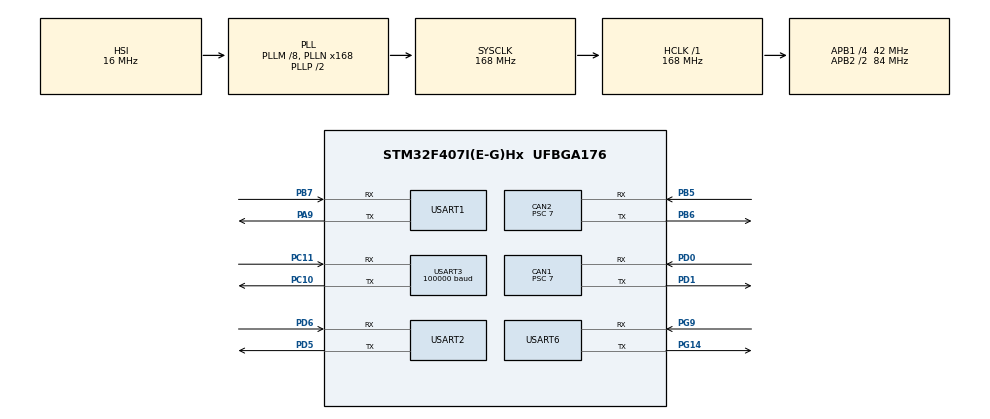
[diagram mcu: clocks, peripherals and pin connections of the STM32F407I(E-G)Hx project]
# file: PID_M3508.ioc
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CAN1.BS1=CAN_BS1_4TQ
CAN1.BS2=CAN_BS2_1TQ
CAN1.CalculateBaudRate=999999
CAN1.CalculateTimeBit=1000
CAN1.CalculateTimeQuantum=166.66666666666669
CAN1.Prescaler=7
CAN2.BS1=CAN_BS1_4TQ
CAN2.BS2=CAN_BS2_1TQ
CAN2.CalculateBaudRate=999999
CAN2.CalculateTimeBit=1000
CAN2.CalculateTimeQuantum=166.66666666666669
CAN2.Prescaler=7
Dma.Request0=USART3_RX
Dma.USART3_RX.0.Direction=DMA_PERIPH_TO_MEMORY
Dma.USART3_RX.0.FIFOMode=DMA_FIFOMODE_DISABLE
Dma.USART3_RX.0.Instance=DMA1_Stream1
Dma.USART3_RX.0.MemDataAlignment=DMA_MDATAALIGN_BYTE
Dma.USART3_RX.0.MemInc=DMA_MINC_ENABLE
Dma.USART3_RX.0.Mode=DMA_NORMAL
Dma.USART3_RX.0.PeriphDataAlignment=DMA_PDATAALIGN_BYTE
Dma.USART3_RX.0.PeriphInc=DMA_PINC_DISABLE
Dma.USART3_RX.0.Priority=DMA_PRIORITY_LOW
Mcu.Family=STM32F4
Mcu.Name=STM32F407I(E-G)Hx
Mcu.Package=UFBGA176
NVIC.DMA1_Stream1_IRQn=true\:0\:0\:false\:false\:true\:false\:true\:true
NVIC.PriorityGroup=NVIC_PRIORITYGROUP_4
NVIC.USART3_IRQn=true\:0\:0\:false\:false\:true\:true\:true\:true
PA13.Mode=Serial_Wire
PA13.Signal=SYS_JTMS-SWDIO
PA14.Mode=Serial_Wire
PA14.Signal=SYS_JTCK-SWCLK
PA9.Mode=Asynchronous
PA9.Signal=USART1_TX
PB5.Mode=CAN_Activate
PB5.Signal=CAN2_RX
PB6.Mode=CAN_Activate
PB6.Signal=CAN2_TX
PB7.Mode=Asynchronous
PB7.Signal=USART1_RX
PC10.Mode=Asynchronous
PC10.Signal=USART3_TX
PC11.Mode=Asynchronous
PC11.Signal=USART3_RX
PC14-OSC32_IN.Mode=LSE-External-Oscillator
PC14-OSC32_IN.Signal=RCC_OSC32_IN
PC15-OSC32_OUT.Mode=LSE-External-Oscillator
PC15-OSC32_OUT.Signal=RCC_OSC32_OUT
PD0.Mode=CAN_Activate
PD0.Signal=CAN1_RX
PD1.Mode=CAN_Activate
PD1.Signal=CAN1_TX
PD5.Mode=Asynchronous
PD5.Signal=USART2_TX
PD6.Mode=Asynchronous
PD6.Signal=USART2_RX
PG14.Mode=Asynchronous
PG14.Signal=USART6_TX
PG9.Mode=Asynchronous
PG9.Signal=USART6_RX
PH0-OSC_IN.Mode=HSE-External-Oscillator
PH0-OSC_IN.Signal=RCC_OSC_IN
PH1-OSC_OUT.Mode=HSE-External-Oscillator
PH1-OSC_OUT.Signal=RCC_OSC_OUT
ProjectManager.HeapSize=0x200
ProjectManager.StackSize=0x400
ProjectManager.TargetToolchain=MDK-ARM V5.32
RCC.48MHZClocksFreq_Value=84000000
RCC.AHBFreq_Value=168000000
RCC.APB1CLKDivider=RCC_HCLK_DIV4
RCC.APB1Freq_Value=42000000
RCC.APB1TimFreq_Value=84000000
RCC.APB2CLKDivider=RCC_HCLK_DIV2
RCC.APB2Freq_Value=84000000
RCC.APB2TimFreq_Value=168000000
RCC.CortexFreq_Value=168000000
RCC.HCLKFreq_Value=168000000
RCC.HSE_VALUE=8000000
RCC.HSI_VALUE=16000000
RCC.PLLM=8
RCC.PLLN=168
RCC.SYSCLKFreq_VALUE=168000000
RCC.SYSCLKSource=RCC_SYSCLKSOURCE_PLLCLK
RCC.VCOOutputFreq_Value=336000000
USART1.VirtualMode=VM_ASYNC
USART2.VirtualMode=VM_ASYNC
USART3.BaudRate=100000
USART3.Parity=PARITY_EVEN
USART3.VirtualMode=VM_ASYNC
USART6.VirtualMode=VM_ASYNC
board=custom

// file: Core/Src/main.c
/* USER CODE BEGIN Header */
/**
  ******************************************************************************
  * @file           : main.c
  * @brief          : Main program body
  ******************************************************************************
  * @attention
  *
  * Copyright (c) 2026 STMicroelectronics.
  * All rights reserved.
  *
  * This software is licensed under terms that can be found in the LICENSE file
  * in the root directory of this software component.
  * If no LICENSE file comes with this software, it is provided AS-IS.
  *
  ******************************************************************************
  */
/* USER CODE END Header */
#include "main.h"
#include "can.h"
#include "dma.h"
#include "usart.h"
#include "gpio.h"

/* USER CODE BEGIN Includes */
#include<stdio.h>
#include "string.h"
#include <math.h>
/* USER CODE END Includes */

/* USER CODE BEGIN PV */
float Target=2000,Actual=0,OUT=0;
float Kp=0,Ki=0,Kd=0;
float Error0=0,Error1=0,ErrorInt=0;
int16_t cur=0;
float OUT_MAX=3000;
float OUT_MIN=-3000;
float INT_MAX=1100;
float INT_MIN=-1100;
char buf[64];
uint32_t print_cnt=0;

volatile uint8_t dbus_buf[18];
volatile uint8_t dbus_ready=0;
volatile uint8_t S1,S2;
int16_t ch0_raw;

uint32_t last_time=0;
volatile uint8_t mode_flag=0;
uint8_t last_mode=0;
float last_target=2000;
float C=0;
/* USER CODE END PV */

void SystemClock_Config(void);
/* USER CODE BEGIN PFP */
void CAN_Send_Msg1(uint32_t CAN_TX_ID,uint8_t *data,uint8_t len);
uint8_t CAN_Receive_Msg(CAN_RxHeaderTypeDef *rxHeader,uint8_t *rxData);
float PID_Control(void);

/* USER CODE END PFP */

/* USER CODE BEGIN 0 */
void CAN_Filter_Init(CAN_HandleTypeDef *hcan,uint32_t filter_bank)
{
  CAN_FilterTypeDef sFilterConfig = {0};

  sFilterConfig.FilterBank = filter_bank; //选择过滤器组
  sFilterConfig.FilterMode = CAN_FILTERMODE_IDMASK;//选择掩码模式
  sFilterConfig.FilterScale = CAN_FILTERSCALE_32BIT;//选择过滤器位宽
  sFilterConfig.FilterIdHigh = 0x0000;//参考id
  sFilterConfig.FilterIdLow = 0x0000;//参考id
  sFilterConfig.FilterMaskIdHigh = 0x0000;//MASK掩码
  sFilterConfig.FilterMaskIdLow = 0x0000;//MASK掩码
  sFilterConfig.FilterFIFOAssignment = CAN_RX_FIFO0;//送到哪一个FIFO
  sFilterConfig.FilterActivation = ENABLE;//过滤器开关

  sFilterConfig.SlaveStartFilterBank = 14;  // 指定 CAN2 的起始滤波器组（0~13 给 CAN1，14~27 给 CAN2）

  HAL_CAN_ConfigFilter(hcan, &sFilterConfig); //把过滤器配置写入寄存器
}

void DBUS_Decode(uint8_t *buf2)
{
	S1=(buf2[5]>>6)&0x03;
	S2=(buf2[5]>>4)&0x03;
}
/* USER CODE END 0 */

int main(void)
{

  /* MCU Configuration--------------------------------------------------------*/

  /* Reset of all peripherals, Initializes the Flash interface and the Systick. */
  HAL_Init();

  /* Configure the system clock */
  SystemClock_Config();

  /* Initialize all configured peripherals */
  MX_GPIO_Init();
  MX_DMA_Init();
  MX_CAN1_Init();
  MX_USART6_UART_Init();
  MX_CAN2_Init();
  MX_USART2_UART_Init();
  MX_USART1_UART_Init();
  MX_USART3_UART_Init();
  /* USER CODE BEGIN 2 */
CAN_Filter_Init(&hcan1,0);
HAL_CAN_Start(&hcan1);

HAL_UARTEx_ReceiveToIdle_DMA(&huart3, (uint8_t *)dbus_buf, 18);
/* USER CODE END 2 */

  /* Infinite loop */
  /* USER CODE BEGIN WHILE */
  while (1)
  {
	  if(dbus_ready)
	  {
		  dbus_ready=0;
		  if(S1==1)
		  {
		  if(S2==2)
			  Target=8190;
		  if(S2==1)
			  Target=2047;
		  Ki=0;
		  Kp=0.1;
		  Kd=0.25;
		  mode_flag=1;
	      }
		  if(S1==2)
		  {
			  if(S2==2)
			  Target=2000;
		      if(S2==1)
			  Target=-2000;
			  mode_flag=2;
			  Kp=0.6;
			  Ki=0.6;
			  Kd=0.05;
		  }
	  }

		  if(mode_flag!=last_mode || Target!=last_target)
		  {
			  Error0=0;
			  Error1=0;
			  ErrorInt=0;
			  OUT=0;
			  last_mode=mode_flag;
			  last_target=Target;
		  }

		  uint32_t now=HAL_GetTick();
	  if(now-last_time>10)
	  {
	  cur=PID_Control();
		  if(mode_flag==1)
		  {
		  	if(cur>0)
		    cur+=400;
	        if(cur<0)
		    cur-=400;
	        if(fabs(Error0)<20)
		    cur=0;
          }

	  uint8_t send_buf[8]={(cur>>8)&0xFF,cur&0xFF,0,0,0,0,0,0};
	  CAN_Send_Msg1(0x200,send_buf,8);
	  last_time=now;
  }

	  CAN_RxHeaderTypeDef my_header;//定义结构体
	  uint8_t my_data[8];
	  if(CAN_Receive_Msg(&my_header,my_data)==1 && my_header.StdId==0x201)
	  {
		  uint16_t raw;
		  if(mode_flag==1)
		  {
		  raw=((uint16_t)my_data[0]<<8)|my_data[1];
		  }
		  if(mode_flag==2)
		  {
			  raw=((uint16_t)my_data[2]<<8)|my_data[3];
		  }
		  Actual=(float)(int16_t)raw;

	  }
print_cnt++;
      if (print_cnt >= 1000)
      {
          print_cnt = 0;
		  sprintf(buf,"%.2f,%.2f,%.2f\n",Actual,OUT,Target);
          HAL_UART_Transmit(&huart1, (uint8_t *)buf, strlen(buf),1000);
	  }
    /* USER CODE END WHILE */

  }
}

void SystemClock_Config(void)
{
  RCC_OscInitTypeDef RCC_OscInitStruct = {0};
  RCC_ClkInitTypeDef RCC_ClkInitStruct = {0};

  /** Configure the main internal regulator output voltage
  */
  __HAL_RCC_PWR_CLK_ENABLE();
  __HAL_PWR_VOLTAGESCALING_CONFIG(PWR_REGULATOR_VOLTAGE_SCALE1);

  /** Initializes the RCC Oscillators according to the specified parameters
  * in the RCC_OscInitTypeDef structure.
  */
  RCC_OscInitStruct.OscillatorType = RCC_OSCILLATORTYPE_HSI;
  RCC_OscInitStruct.HSIState = RCC_HSI_ON;
  RCC_OscInitStruct.HSICalibrationValue = RCC_HSICALIBRATION_DEFAULT;
  RCC_OscInitStruct.PLL.PLLState = RCC_PLL_ON;
  RCC_OscInitStruct.PLL.PLLSource = RCC_PLLSOURCE_HSI;
  RCC_OscInitStruct.PLL.PLLM = 8;
  RCC_OscInitStruct.PLL.PLLN = 168;
  RCC_OscInitStruct.PLL.PLLP = RCC_PLLP_DIV2;
  RCC_OscInitStruct.PLL.PLLQ = 4;
  if (HAL_RCC_OscConfig(&RCC_OscInitStruct) != HAL_OK)
  {
    Error_Handler();
  }

  /** Initializes the CPU, AHB and APB buses clocks
  */
  RCC_ClkInitStruct.ClockType = RCC_CLOCKTYPE_HCLK|RCC_CLOCKTYPE_SYSCLK
                              |RCC_CLOCKTYPE_PCLK1|RCC_CLOCKTYPE_PCLK2;
  RCC_ClkInitStruct.SYSCLKSource = RCC_SYSCLKSOURCE_PLLCLK;
  RCC_ClkInitStruct.AHBCLKDivider = RCC_SYSCLK_DIV1;
  RCC_ClkInitStruct.APB1CLKDivider = RCC_HCLK_DIV4;
  RCC_ClkInitStruct.APB2CLKDivider = RCC_HCLK_DIV2;

  if (HAL_RCC_ClockConfig(&RCC_ClkInitStruct, FLASH_LATENCY_5) != HAL_OK)
  {
    Error_Handler();
  }
}

/* USER CODE BEGIN 4 */
void CAN_Send_Msg1(uint32_t CAN_TX_ID,uint8_t *data,uint8_t len)
{
	CAN_TxHeaderTypeDef txHeader;//定义结构体
	uint32_t txMailbox;//邮箱编号
	txHeader.StdId=CAN_TX_ID;//设置id
	txHeader.IDE=CAN_ID_STD;//选择标准帧
	txHeader.RTR=CAN_RTR_DATA;//选择数据帧
	txHeader.DLC=len;//手写报文长度
	HAL_CAN_AddTxMessage(&hcan1,&txHeader,data,&txMailbox);

}
uint8_t CAN_Receive_Msg(CAN_RxHeaderTypeDef *rxHeader,uint8_t *rxData)
{
	if(HAL_CAN_GetRxFifoFillLevel(&hcan1,CAN_RX_FIFO0)>0)//确认收到了数据
	{
		HAL_CAN_GetRxMessage(&hcan1,CAN_RX_FIFO0,rxHeader,rxData);
		return 1;
	}
	return 0;
}
float PID_Control(void)
{
	Error1=Error0;
	Error0=Target-Actual;
	if(mode_flag==1)
	{

		if(Error0>4096)
			Error0-=8192;
		else if(Error0<-4096)
			Error0+=8192;
	}
	ErrorInt+=Error0;
	if(ErrorInt>INT_MAX)
		ErrorInt=INT_MAX;
	if(ErrorInt<INT_MIN)
		ErrorInt=INT_MIN;

	OUT=Kp*Error0+Ki*ErrorInt+Kd*(Error0-Error1);
	if(OUT>OUT_MAX)
		OUT=OUT_MAX;
	if(OUT<OUT_MIN)
		OUT=OUT_MIN;

	return OUT;
}

/*中断回调*/
void HAL_UARTEx_RxEventCallback(UART_HandleTypeDef *huart,uint16_t Size)
{
	if(huart==&huart3)
	{
		if(Size == 18)          /* 只有完整一帧才解码，半帧丢弃 */
		{
			DBUS_Decode((uint8_t *)dbus_buf);
			dbus_ready = 1;
		}
		HAL_UARTEx_ReceiveToIdle_DMA(&huart3, (uint8_t *)dbus_buf, 18);
	}
}

/* UART 出错后必须重新武装接收，否则接收永久停止 */
void HAL_UART_ErrorCallback(UART_HandleTypeDef *huart)
{
	if(huart==&huart3)
	{
		__HAL_UART_CLEAR_OREFLAG(huart);
		huart->ErrorCode = HAL_UART_ERROR_NONE;
		HAL_UARTEx_ReceiveToIdle_DMA(&huart3, (uint8_t *)dbus_buf, 18);
	}
}

/* USER CODE END 4 */

void Error_Handler(void)
{
  __disable_irq();
  while (1)
  {
  }
}
